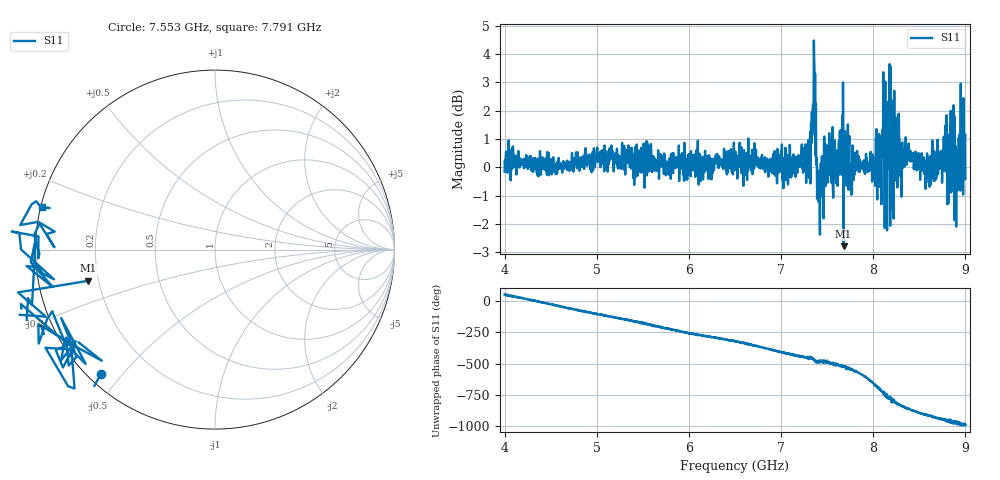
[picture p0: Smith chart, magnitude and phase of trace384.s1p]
! Created with skrf 1.8.0 (http://scikit-rf.org).
# Hz S RI R 50.0
!freq ReS11 ImS11
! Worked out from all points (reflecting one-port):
!   1601 points, 4 GHz to 9 GHz, reference 50 ohm
!   lowest |S11| = -2.8 dB at 7.678 GHz (marker M1), VSWR 6.30, Z = 8.05 - j5.91 ohm
!   phase of S11 starts at 52 deg and turns -1039 deg over the sweep
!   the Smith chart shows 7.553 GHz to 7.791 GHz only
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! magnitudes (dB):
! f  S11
! 4 GHz  -0.2
! 4.625 GHz  -0.2
! 5.25 GHz  0.0
! 5.875 GHz  0.0
! 6.5 GHz  0.2
! 7.125 GHz  0.0
! 7.297 GHz  1.0
! 7.353 GHz  2.2
! 7.412 GHz  -0.7
! 7.512 GHz  0.1
! 7.588 GHz  -0.3
! 7.65 GHz  1.3
! 7.678 GHz  -2.8
! 7.75 GHz  -0.2
! 8 GHz  0.4
! 8.066 GHz  1.1
! 8.106 GHz  0.9
! 8.147 GHz  1.2
! 8.153 GHz  1.0
! 8.209 GHz  0.6
! 8.253 GHz  0.5
! 8.316 GHz  0.9
! 8.375 GHz  0.6
! 8.588 GHz  0.3
! 8.775 GHz  0.9
! 8.875 GHz  0.6
! 8.972 GHz  0.2
! 9 GHz  -0.4
